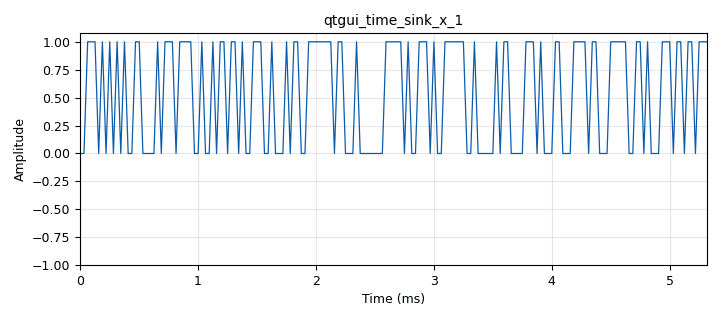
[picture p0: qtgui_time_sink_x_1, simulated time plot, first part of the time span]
options:
  parameters:
    generate_options: qt_gui
    id: options_0
    output_language: python
    title: sinewaveflow
  states: {}

blocks:
- name: frequency
  id: variable
  parameters:
    value: '100'
  states: {state: disabled}
- name: listComprehensionExample
  id: variable
  parameters:
    value: 2 , 4, 6, 8
  states: {state: disabled}
- name: samp_rate
  id: variable
  parameters:
    value: '32000'
  states: {}
- name: variable
  id: variable_qtgui_chooser
  parameters:
    label0: 'Frequency: 0'
    label1: 'Frequency: 1000'
    label2: 'Frequency: -2000'
    num_opts: '3'
    option1: '1000'
    option2: '2'
    type: int
    value: '0'
  states: {state: disabled}
- name: variable_0
  id: variable
  parameters:
    value: '[0, 1, 2, 3]'
  states: {state: disabled}
- name: variable_qtgui_range_0
  id: variable_qtgui_range
  parameters:
    orient: Qt.Horizontal
    start: '0'
    step: '1'
    stop: '100'
    value: '50'
  states: {state: disabled}
- name: analog_random_source_x_0
  id: analog_random_source_x
  parameters:
    max: '2'
    min: '0'
    num_samps: '1000'
    repeat: 'True'
    type: byte
  states: {}
- name: analog_sig_source_x_0
  id: analog_sig_source_x
  parameters:
    amp: '1'
    freq: '100'
    offset: '0'
    phase: '0'
    samp_rate: samp_rate
    type: float
    waveform: analog.GR_COS_WAVE
  states: {state: disabled}
- name: blocks_char_to_float_0
  id: blocks_char_to_float
  parameters:
    scale: '1'
  states: {}
- name: blocks_throttle_0
  id: blocks_throttle
  parameters:
    samples_per_second: samp_rate
    type: float
  states: {state: disabled}
- name: blocks_throttle_1
  id: blocks_throttle
  parameters:
    samples_per_second: samp_rate
    type: byte
  states: {}
- name: qtgui_freq_sink_x_0
  id: qtgui_freq_sink_x
  parameters:
    bw: samp_rate
    fc: '0'
    fftsize: '1024'
    type: float
    wintype: firdes.WIN_BLACKMAN_hARRIS
  states: {state: disabled}
- name: qtgui_freq_sink_x_1
  id: qtgui_freq_sink_x
  parameters:
    bw: samp_rate
    fc: '0'
    fftsize: '1024'
    type: complex
    wintype: firdes.WIN_BLACKMAN_hARRIS
  states: {state: disabled}
- name: qtgui_time_sink_x_0
  id: qtgui_time_sink_x
  parameters:
    size: '1024'
    srate: samp_rate
    type: float
  states: {state: disabled}
- name: qtgui_time_sink_x_1
  id: qtgui_time_sink_x
  parameters:
    size: '1024'
    srate: samp_rate
    type: float
  states: {}

connections:
- [analog_random_source_x_0, '0', blocks_throttle_1, '0']
- [analog_sig_source_x_0, '0', blocks_throttle_0, '0']
- [blocks_char_to_float_0, '0', qtgui_time_sink_x_1, '0']
- [blocks_throttle_0, '0', qtgui_freq_sink_x_0, '0']
- [blocks_throttle_0, '0', qtgui_time_sink_x_0, '0']
- [blocks_throttle_1, '0', blocks_char_to_float_0, '0']

metadata:
  file_format: 1
